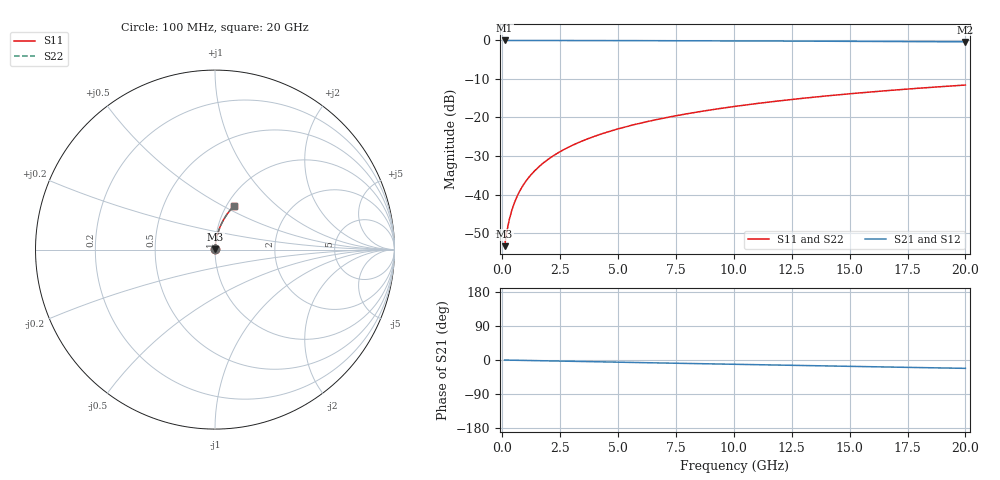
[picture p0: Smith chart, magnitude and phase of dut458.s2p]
! Touchstone file exported from HFSS 2026.1.0
!  File:  C:/ffzhzh/LocalFiles/Ansys_Project_Files/temp_train_TMRDL_458_1783005939_53980.aedt
!  Generated:  11:27:00 PM Jul  2, 2026
!  Design:  TMRDL
!  Project:  temp_train_TMRDL_458_1783005939_53980
! Variables:
!  h_bsmrdl = 2um
!  h_ox = 20um
!  h_rdl = 5um
!  h_sub = 80um
!  h_tmrdl = 5.25um
!  h_tsv = 80um
!  h_via = 3um
!  l_bsmrdl = 300um
!  l_sub = 657.09um
!  l_tmrdl = 257.09um
!  m_sub = 200um
!  pitch = 47.37um
!  r_tsv = 6um
!  s_tmrdl = 10um
!  w_bsmrdl = 18um
!  w_sub = 500um
!  w_tmrdl = 12.03um
!  x_tsv_center1 = 263.105um
!  x_tsv_center2 = 581.105um
!  x_tsv_center3 = 850.225um
!  x_tsv_center4 = 1168.225um
!  x_tsv_center5 = 1437.345um
!  x_tsv_center6 = 1755.345um
# GHz S MA R 50.000000
! Terminal data exported
! Port[1] = TM_RDL1_1_T1
! Port[2] = TM_RDL1_1_T2
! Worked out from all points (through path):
!   200 points, 100 MHz to 20 GHz, reference 50 ohm
!   highest |S21| = -0.01 dB at 100 MHz (marker M1); lowest = -0.4 dB at 20 GHz (marker M2)
!   group delay of S21, straight-line fit = 3.06 ps
!   lowest |S11| = -53.4 dB at 100 MHz (marker M3), VSWR 1.00, Z = 50.2 + j0.15 ohm
!   |S11| at or under -10 dB: start of sweep to end of sweep
!   |S22| runs from -53.4 to -11.6 dB; largest |S21 - S12| = 8.3e-15
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0.1  0.002138 44.2  0.9985 -0.1  0.9985 -0.1  0.002138 44.2
! Gamma 0 0 0 0
! Port Impedance 50 0 50 0
0.2  0.003355 62.0  0.9984 -0.2  0.9984 -0.2  0.003355 62.0
0.3  0.004705 69.8  0.9984 -0.4  0.9984 -0.4  0.004705 69.8
0.4  0.006092 74.0  0.9984 -0.5  0.9984 -0.5  0.006092 74.0
0.5  0.007497 76.7  0.9983 -0.6  0.9983 -0.6  0.007497 76.7
0.6  0.008912 78.5  0.9983 -0.7  0.9983 -0.7  0.008912 78.5
0.8  0.01176 80.7  0.9982 -0.9  0.9982 -0.9  0.01176 80.7
1.1  0.01605 82.4  0.9981 -1.3  0.9981 -1.3  0.01605 82.4
1.5  0.02178 83.3  0.9979 -1.7  0.9979 -1.7  0.02178 83.3
1.8  0.02608 83.6  0.9977 -2.1  0.9977 -2.1  0.02608 83.6
2.1  0.03036 83.7  0.9975 -2.4  0.9975 -2.4  0.03036 83.7
2.7  0.0389 83.6  0.997 -3.1  0.997 -3.1  0.0389 83.6
3.5  0.0502 83.0  0.9962 -4.0  0.9962 -4.0  0.0502 83.0
4.2  0.06 82.5  0.9954 -4.8  0.9954 -4.8  0.06 82.5
5  0.07111 81.7  0.9943 -5.8  0.9943 -5.8  0.07111 81.7
5.9  0.08349 80.8  0.993 -6.8  0.993 -6.8  0.08349 80.8
6.8  0.09577 79.9  0.9916 -7.8  0.9916 -7.8  0.09577 79.9
8.3  0.116 78.4  0.989 -9.4  0.989 -9.4  0.116 78.4
10.1  0.1399 76.6  0.9854 -11.4  0.9854 -11.4  0.1399 76.6
13.4  0.1827 73.2  0.9777 -15.0  0.9777 -15.0  0.1827 73.2
16.7  0.224 69.9  0.9685 -18.6  0.9685 -18.6  0.224 69.9
20  0.2636 66.5  0.9581 -22.0  0.9581 -22.0  0.2636 66.5
